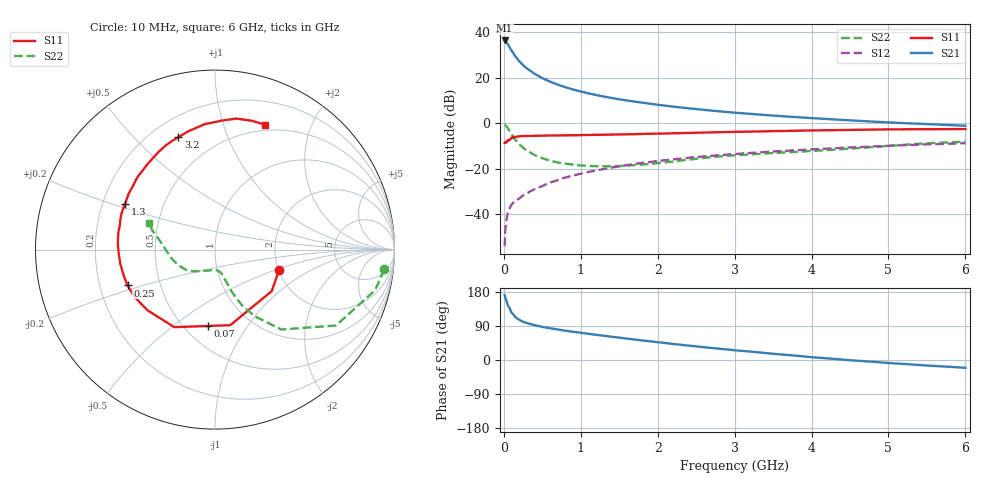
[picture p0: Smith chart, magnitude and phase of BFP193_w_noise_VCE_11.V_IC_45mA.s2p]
! Infineon Technologies  Discrete & RF Semiconductors
! BFP193
! VCE =  11. V,  IC =  45 mA
! Common Emitter S-Parameters:  Jan 2017
# GHz  S  MA  R  50
!  f  S11  S21  S12  S22
! GHz  MAG  ANG  MAG  ANG  MAG  ANG  MAG  ANG
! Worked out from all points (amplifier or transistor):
!   77 points, 10 MHz to 6 GHz, reference 50 ohm
!   highest |S21| = 36.5 dB at 10 MHz (marker M1)
!   |S21| within 3 dB of that: start of sweep to 74.68 MHz
!   unconditionally stable (mu >= 1): 662.5 MHz to 2.427 GHz
!   at 130 MHz: K = 0.53, MSG = 32.6 dB, |S12| = -34.7 dB
!   at 2.2 GHz: K = 1.01, MAG = 10.9 dB, |S12| = -15.8 dB
!   at 6 GHz: K = 0.90, MSG = 3.8 dB, |S12| = -8.7 dB
!   lowest NFmin = 1.45 dB at 450 MHz
!   S11 on the Smith chart (normalised r, x): 10 MHz: 2.01, -0.54; 70 MHz: 0.65, -0.67; 250 MHz: 0.32, -0.18; 1.3 GHz: 0.29, +0.22; 3.2 GHz: 0.31, +0.68; 6 GHz: 0.44, +1.38
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0.01  0.3746 -17.9  66.48 171.3  0.002 75.4  0.9497 -6.7
0.02  0.3917 -36.2  65.45 164.2  0.0047 81.2  0.9205 -14.2
0.05  0.4298 -78.6  55.44 145.0  0.0108 66.5  0.7956 -32.1
0.07  0.4274 -95.3  48.56 138.4  0.013 62.7  0.701 -38.0
0.1  0.4878 -117.7  39.95 124.6  0.0164 58.9  0.5786 -50.3
0.15  0.5058 -138.0  29.66 113.3  0.0198 55.6  0.4356 -59.0
0.2  0.5199 -149.3  23.29 106.1  0.0223 58.3  0.349 -64.0
0.25  0.5264 -157.7  19.07 100.9  0.0262 58.4  0.2916 -66.4
0.3  0.5289 -163.4  16.07 97.3  0.0291 60.1  0.2506 -68.3
0.4  0.5336 -171.5  12.26 91.6  0.0357 63.2  0.2011 -70.1
0.5  0.5367 -177.6  9.873 87.3  0.0419 64.6  0.1715 -72.0
0.6  0.5418 177.3  8.289 83.7  0.05 65.6  0.1512 -73.5
0.7  0.5441 173.5  7.119 80.6  0.0564 66.1  0.1381 -74.7
0.9  0.5471 165.8  5.555 74.5  0.0711 66.4  0.1239 -79.1
1.1  0.5579 159.4  4.58 69.2  0.0855 65.3  0.1164 -84.2
1.3  0.5628 153.2  3.889 64.0  0.0994 63.6  0.1144 -90.8
2.1  0.5998 131.2  2.45 44.7  0.1552 55.1  0.1392 -121.7
3.1  0.6544 109.8  1.67 24.0  0.2176 43.3  0.2031 -148.7
3.2  0.6589 108.0  1.621 22.3  0.2232 42.2  0.2077 -151.0
4.1  0.7034 93.3  1.277 6.0  0.2736 32.1  0.2528 -171.4
5.1  0.7401 79.5  1.032 -9.2  0.3259 20.8  0.3284 167.9
6  0.7494 68.2  0.887 -20.6  0.3674 10.8  0.3964 158.0
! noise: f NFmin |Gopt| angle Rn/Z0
0.45  1.45  0.4  -171  0.08
0.9  1.49  0.43  -165  0.08
1.9  2.13  0.59  -134  0.21
2.4  2.45  0.63  -119  0.45
